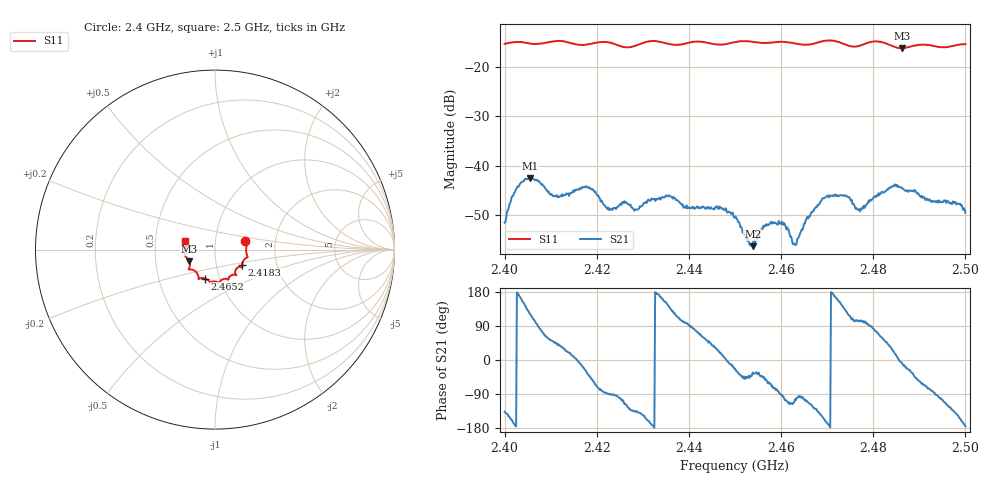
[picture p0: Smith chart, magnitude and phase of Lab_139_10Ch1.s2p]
# Hz S RI R 50
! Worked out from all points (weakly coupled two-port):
!   601 points, 2.4 GHz to 2.5 GHz, reference 50 ohm
!   highest |S21| = -42.54 dB at 2.4055 GHz (marker M1); lowest = -56.4 dB at 2.4538 GHz (marker M2)
!   lowest |S11| = -16.1 dB at 2.4862 GHz (marker M3), VSWR 1.37, Z = 37.2 - j4.89 ohm
!   |S11| at or under -10 dB: start of sweep to end of sweep
!   S12 and S22 are empty: the file has one direction only
!   S11 on the Smith chart (normalised r, x): 2.4 GHz: 1.40, +0.13; 2.4183 GHz: 1.33, -0.24; 2.4652 GHz: 0.85, -0.28; 2.5 GHz: 0.71, +0.07
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2.4e9  0.1677 0.0468  -0.00189 -0.00181  0 0  0 0
2.4025e9  0.1782 0.0349  -0.00568 -0.000485  0 0  0 0
2.4055e9  0.1747 0.0145  -0.00394 0.00633  0 0  0 0
2.411e9  0.1813 -0.0384  0.00341 0.00354  0 0  0 0
2.416667e9  0.1549 -0.068  0.00562 -0.00143  0 0  0 0
2.418333e9  0.1495 -0.0861  0.00446 -0.00402  0 0  0 0
2.422833e9  0.1502 -0.0977  5.55e-05 -0.00356  0 0  0 0
2.428667e9  0.1126 -0.1249  -0.00254 -0.0025  0 0  0 0
2.433333e9  0.1172 -0.1416  -0.00456 0.000553  0 0  0 0
2.45e9  0.0257 -0.1797  0.00273 -0.00114  0 0  0 0
2.453833e9  0.0149 -0.1816  0.00126 -0.000818  0 0  0 0
2.458333e9  -0.0189 -0.1792  0.000682 -0.00251  0 0  0 0
2.4605e9  -0.0284 -0.1802  -0.000278 -0.00247  0 0  0 0
2.463e9  -0.036 -0.1718  -0.000379 -0.00151  0 0  0 0
2.465167e9  -0.0543 -0.1612  -0.000626 -0.00247  0 0  0 0
2.466667e9  -0.0707 -0.1578  -0.00166 -0.00294  0 0  0 0
2.471333e9  -0.0914 -0.1632  -0.00481 0.000559  0 0  0 0
2.474333e9  -0.0966 -0.1379  -0.00272 0.00395  0 0  0 0
2.477e9  -0.1209 -0.1137  -0.000728 0.00351  0 0  0 0
2.483333e9  -0.1415 -0.0968  0.0045 0.00381  0 0  0 0
2.486167e9  -0.1432 -0.0641  0.00591 -0.000731  0 0  0 0
2.5e9  -0.166 0.0476  -0.00328 -0.000296  0 0  0 0
